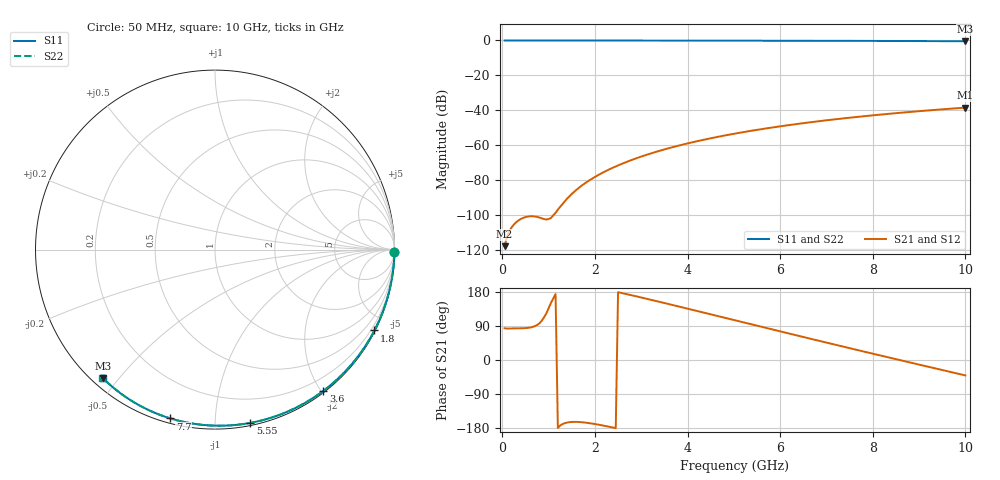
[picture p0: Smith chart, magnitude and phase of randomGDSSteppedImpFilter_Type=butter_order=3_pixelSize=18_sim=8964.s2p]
! freq	dB(S11)	phase(S11)	dB(S12)	phase(S12)
!  dB(S21)	phase(S21)	dB(S22)	phase(S22)
!S-par simulation data
#  GHz  S  DB  R 50
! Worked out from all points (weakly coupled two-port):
!   200 points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, 50 MHz to 10 GHz, reference 50 ohm
!   highest |S21| = -38.42 dB at 10 GHz (marker M1); lowest = -117.6 dB at 50 MHz (marker M2)
!   lowest |S11| = -0.4 dB at 10 GHz (marker M3), VSWR 39.14, Z = 1.54 - j22.7 ohm
!   |S11| at or under -10 dB: nowhere
!   |S22| runs from -0.4 to 0.0 dB; largest |S21 - S12| = 0
!   S11 on the Smith chart (normalised r, x): 50 MHz: open; 1.8 GHz: 0.04, -4.18; 3.6 GHz: 0.02, -2.03; 5.55 GHz: 0.02, -1.22; 7.7 GHz: 0.02, -0.77; 10 GHz: 0.03, -0.45
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0.05  -0.00 -0.8  -117.64 83.8  -117.64 83.8  -0.00 -0.8
0.9  -0.02 -13.6  -102.14 112.3  -102.14 112.3  -0.02 -13.6
1.75  -0.03 -26.1  -82.34 -164.6  -82.34 -164.6  -0.03 -26.2
1.8  -0.03 -26.9  -81.41 -165.3  -81.41 -165.3  -0.03 -26.9
1.85  -0.04 -27.6  -80.52 -166.1  -80.52 -166.1  -0.04 -27.7
1.9  -0.04 -28.3  -79.67 -167.0  -79.67 -167.0  -0.04 -28.4
2.05  -0.04 -30.5  -77.30 -170.0  -77.30 -170.0  -0.04 -30.6
2.25  -0.04 -33.4  -74.50 -174.7  -74.50 -174.7  -0.04 -33.5
2.45  -0.05 -36.3  -72.03 -179.8  -72.03 -179.8  -0.05 -36.4
2.65  -0.05 -39.2  -69.81 174.8  -69.81 174.8  -0.05 -39.3
3  -0.06 -44.2  -66.40 165.0  -66.40 165.0  -0.06 -44.3
3.4  -0.07 -49.8  -63.07 153.4  -63.07 153.4  -0.07 -49.9
3.6  -0.07 -52.6  -61.58 147.4  -61.58 147.4  -0.07 -52.7
4.3  -0.09 -62.1  -57.07 126.5  -57.07 126.5  -0.09 -62.2
5.05  -0.11 -72.1  -53.14 104.0  -53.14 104.0  -0.11 -72.2
5.55  -0.13 -78.5  -50.91 89.0  -50.91 89.0  -0.13 -78.7
6.1  -0.15 -85.5  -48.73 72.6  -48.73 72.6  -0.15 -85.6
6.7  -0.18 -92.9  -46.62 54.7  -46.62 54.7  -0.18 -93.0
7.7  -0.24 -104.8  -43.62 25.4  -43.62 25.4  -0.24 -105.0
8.35  -0.29 -112.4  -41.94 6.5  -41.94 6.5  -0.29 -112.6
9.15  -0.36 -121.6  -40.12 -16.4  -40.12 -16.4  -0.36 -121.8
10  -0.44 -131.2  -38.42 -40.7  -38.42 -40.7  -0.44 -131.4
